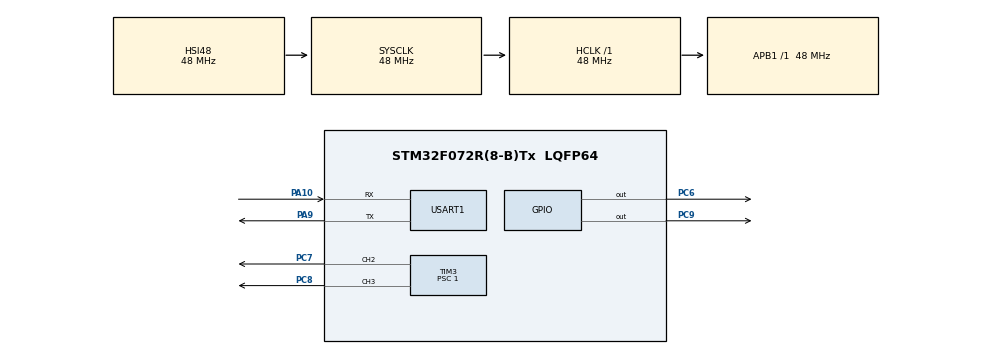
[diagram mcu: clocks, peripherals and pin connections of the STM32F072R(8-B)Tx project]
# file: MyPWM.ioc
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Mcu.Family=STM32F0
Mcu.Name=STM32F072R(8-B)Tx
Mcu.Package=LQFP64
NVIC.USART1_IRQn=true\:0\:0\:false\:false\:true\:true
PA10.Mode=Asynchronous
PA10.Signal=USART1_RX
PA9.Mode=Asynchronous
PA9.Signal=USART1_TX
PC6.Signal=GPIO_Output
PC7.GPIO_PuPd=GPIO_PULLDOWN
PC7.Signal=S_TIM3_CH2
PC8.Signal=S_TIM3_CH3
PC9.Signal=GPIO_Output
PF0-OSC_IN.Mode=HSE-External-Oscillator
PF0-OSC_IN.Signal=RCC_OSC_IN
PF1-OSC_OUT.Mode=HSE-External-Oscillator
PF1-OSC_OUT.Signal=RCC_OSC_OUT
ProjectManager.HeapSize=0x200
ProjectManager.StackSize=0x400
ProjectManager.TargetToolchain=MDK-ARM V5
RCC.AHBFreq_Value=48000000
RCC.APB1Freq_Value=48000000
RCC.APB1TimFreq_Value=48000000
RCC.HCLKFreq_Value=48000000
RCC.SYSCLKFreq_VALUE=48000000
RCC.SYSCLKSource=RCC_SYSCLKSOURCE_HSI48
SH.S_TIM3_CH2.0=TIM3_CH2,PWM Generation2 CH2
SH.S_TIM3_CH3.0=TIM3_CH3,PWM Generation3 CH3
TIM3.Channel-PWM\ Generation2\ CH2=TIM_CHANNEL_2
TIM3.Channel-PWM\ Generation3\ CH3=TIM_CHANNEL_3
TIM3.CounterMode=TIM_COUNTERMODE_UP
TIM3.Period=48000
TIM3.Prescaler=1
TIM3.Pulse-PWM\ Generation2\ CH2=0
USART1.VirtualMode-Asynchronous=VM_ASYNC
VP_TIM3_VS_ClockSourceINT.Mode=Internal
board=custom

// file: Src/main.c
/**
  ******************************************************************************
  * @file           : main.c
  * @brief          : Main program body
  ******************************************************************************
  ** This notice applies to any and all portions of this file
  * that are not between comment pairs USER CODE BEGIN and
  * USER CODE END. Other portions of this file, whether
  * inserted by the user or by software development tools
  * are owned by their respective copyright owners.
  *
  * COPYRIGHT(c) 2018 STMicroelectronics
  *
  * Redistribution and use in source and binary forms, with or without modification,
  * are permitted provided that the following conditions are met:
  *   1. Redistributions of source code must retain the above copyright notice,
  *      this list of conditions and the following disclaimer.
  *   2. Redistributions in binary form must reproduce the above copyright notice,
  *      this list of conditions and the following disclaimer in the documentation
  *      and/or other materials provided with the distribution.
  *   3. Neither the name of STMicroelectronics nor the names of its contributors
  *      may be used to endorse or promote products derived from this software
  *      without specific prior written permission.
  *
  * THIS SOFTWARE IS PROVIDED BY THE COPYRIGHT HOLDERS AND CONTRIBUTORS "AS IS"
  * AND ANY EXPRESS OR IMPLIED WARRANTIES, INCLUDING, BUT NOT LIMITED TO, THE
  * IMPLIED WARRANTIES OF MERCHANTABILITY AND FITNESS FOR A PARTICULAR PURPOSE ARE
  * DISCLAIMED. IN NO EVENT SHALL THE COPYRIGHT HOLDER OR CONTRIBUTORS BE LIABLE
  * FOR ANY DIRECT, INDIRECT, INCIDENTAL, SPECIAL, EXEMPLARY, OR CONSEQUENTIAL
  * DAMAGES (INCLUDING, BUT NOT LIMITED TO, PROCUREMENT OF SUBSTITUTE GOODS OR
  * SERVICES; LOSS OF USE, DATA, OR PROFITS; OR BUSINESS INTERRUPTION) HOWEVER
  * CAUSED AND ON ANY THEORY OF LIABILITY, WHETHER IN CONTRACT, STRICT LIABILITY,
  * OR TORT (INCLUDING NEGLIGENCE OR OTHERWISE) ARISING IN ANY WAY OUT OF THE USE
  * OF THIS SOFTWARE, EVEN IF ADVISED OF THE POSSIBILITY OF SUCH DAMAGE.
  *
  ******************************************************************************
  */
#include "main.h"
#include "stm32f0xx_hal.h"

/* USER CODE BEGIN Includes */
#include <String.h>
/* USER CODE END Includes */

TIM_HandleTypeDef htim3;

UART_HandleTypeDef huart1;

/* USER CODE BEGIN PV */
/* Private variables ---------------------------------------------------------*/

/* USER CODE END PV */

void SystemClock_Config(void);
static void MX_GPIO_Init(void);
static void MX_TIM3_Init(void);
static void MX_USART1_UART_Init(void);
void HAL_TIM_MspPostInit(TIM_HandleTypeDef *htim);

/* USER CODE BEGIN PFP */
/* Private function prototypes -----------------------------------------------*/

/* USER CODE END PFP */

/* USER CODE BEGIN 0 */

	static volatile int flag = 0;
/* USER CODE END 0 */

int main(void)
{
  /* USER CODE BEGIN 1 */

	char str[5];
	int percent,pwm;
	//double pwm;
  /* USER CODE END 1 */

  /* MCU Configuration----------------------------------------------------------*/

  /* Reset of all peripherals, Initializes the Flash interface and the Systick. */
  HAL_Init();

  /* Configure the system clock */
  SystemClock_Config();

  /* Initialize all configured peripherals */
  MX_GPIO_Init();
  MX_TIM3_Init();
  MX_USART1_UART_Init();
  /* USER CODE BEGIN 2 */
	//GPIOC->ODR |= GPIO_PIN_8;

	//GPIOC->ODR |= GPIO_PIN_9;
  /* USER CODE END 2 */

  /* Infinite loop */
  /* USER CODE BEGIN WHILE */
	//GPIOC->ODR = GPIO_PIN_7|GPIO_PIN_6;

	HAL_UART_Receive_IT(&huart1,str,5);
	while(1)
  {
		if(flag==2){
		}
		if(flag == 1){
			flag = 0;
			//if(str[0]=='t'&&str[1]=='r'){
			if(!strncmp(str,"tr",2)){
				HAL_TIM_PWM_Stop ( &htim3, TIM_CHANNEL_3);
				GPIOC->ODR = 0;
				percent = 100*(str[2]-48)+10*(str[3]-48)+str[4]-48;
				pwm = 48000*percent/100;
				htim3.Instance->CCR2 = (int)pwm;
				//TIM3->CCR2=((int)pwm);
				GPIOC->ODR = GPIO_PIN_6;
				HAL_TIM_PWM_Start ( &htim3, TIM_CHANNEL_2);
				uint8_t tmp[] = "Motor is right\r\n";
				HAL_UART_Transmit(&huart1,tmp,sizeof(tmp),0xFFFF);
			}
			else if(!strncmp(str,"tl",2)){
				HAL_TIM_PWM_Stop ( &htim3, TIM_CHANNEL_2);
				GPIOC->ODR = 0;
				percent = 100*(str[2]-48)+10*(str[3]-48)+str[4]-48;
				pwm = 48000*percent/100;
				htim3.Instance->CCR3 = (int)pwm;
				GPIOC->ODR = GPIO_PIN_9;
				HAL_TIM_PWM_Start ( &htim3, TIM_CHANNEL_3);
				uint8_t tmp[] = "Motor is left\r\n";
				HAL_UART_Transmit(&huart1,tmp,sizeof(tmp),0xFFFF);

			}
			else if(!strncmp(str,"stop",4)){
				HAL_TIM_PWM_Stop (&htim3, TIM_CHANNEL_3);
				HAL_TIM_PWM_Stop (&htim3, TIM_CHANNEL_2);
				GPIOC->ODR = 0;
				uint8_t tmp[] = "Motor is stop\r\n";
				HAL_UART_Transmit(&huart1,tmp,sizeof(tmp),0xFFFF);
			}
			else{
				uint8_t tmp[] = "ERROR\r\n";
				HAL_UART_Transmit(&huart1,tmp,sizeof(tmp),0xFFFF);
			}
		}
		HAL_UART_Receive_IT(&huart1,str,5);
	}
  /* USER CODE END WHILE */

}

void SystemClock_Config(void)
{

  RCC_OscInitTypeDef RCC_OscInitStruct;
  RCC_ClkInitTypeDef RCC_ClkInitStruct;
  RCC_PeriphCLKInitTypeDef PeriphClkInit;

    /**Initializes the CPU, AHB and APB busses clocks
    */
  RCC_OscInitStruct.OscillatorType = RCC_OSCILLATORTYPE_HSI48;
  RCC_OscInitStruct.HSI48State = RCC_HSI48_ON;
  RCC_OscInitStruct.PLL.PLLState = RCC_PLL_NONE;
  if (HAL_RCC_OscConfig(&RCC_OscInitStruct) != HAL_OK)
  {
    _Error_Handler(__FILE__, __LINE__);
  }

    /**Initializes the CPU, AHB and APB busses clocks
    */
  RCC_ClkInitStruct.ClockType = RCC_CLOCKTYPE_HCLK|RCC_CLOCKTYPE_SYSCLK
                              |RCC_CLOCKTYPE_PCLK1;
  RCC_ClkInitStruct.SYSCLKSource = RCC_SYSCLKSOURCE_HSI48;
  RCC_ClkInitStruct.AHBCLKDivider = RCC_SYSCLK_DIV1;
  RCC_ClkInitStruct.APB1CLKDivider = RCC_HCLK_DIV1;

  if (HAL_RCC_ClockConfig(&RCC_ClkInitStruct, FLASH_LATENCY_1) != HAL_OK)
  {
    _Error_Handler(__FILE__, __LINE__);
  }

  PeriphClkInit.PeriphClockSelection = RCC_PERIPHCLK_USART1;
  PeriphClkInit.Usart1ClockSelection = RCC_USART1CLKSOURCE_PCLK1;
  if (HAL_RCCEx_PeriphCLKConfig(&PeriphClkInit) != HAL_OK)
  {
    _Error_Handler(__FILE__, __LINE__);
  }

    /**Configure the Systick interrupt time
    */
  HAL_SYSTICK_Config(HAL_RCC_GetHCLKFreq()/1000);

    /**Configure the Systick
    */
  HAL_SYSTICK_CLKSourceConfig(SYSTICK_CLKSOURCE_HCLK);

  /* SysTick_IRQn interrupt configuration */
  HAL_NVIC_SetPriority(SysTick_IRQn, 0, 0);
}

/* TIM3 init function */
static void MX_TIM3_Init(void)
{

  TIM_ClockConfigTypeDef sClockSourceConfig;
  TIM_MasterConfigTypeDef sMasterConfig;
  TIM_OC_InitTypeDef sConfigOC;

  htim3.Instance = TIM3;
  htim3.Init.Prescaler = 1;
  htim3.Init.CounterMode = TIM_COUNTERMODE_UP;
  htim3.Init.Period = 48000;
  htim3.Init.ClockDivision = TIM_CLOCKDIVISION_DIV1;
  htim3.Init.AutoReloadPreload = TIM_AUTORELOAD_PRELOAD_DISABLE;
  if (HAL_TIM_Base_Init(&htim3) != HAL_OK)
  {
    _Error_Handler(__FILE__, __LINE__);
  }

  sClockSourceConfig.ClockSource = TIM_CLOCKSOURCE_INTERNAL;
  if (HAL_TIM_ConfigClockSource(&htim3, &sClockSourceConfig) != HAL_OK)
  {
    _Error_Handler(__FILE__, __LINE__);
  }

  if (HAL_TIM_PWM_Init(&htim3) != HAL_OK)
  {
    _Error_Handler(__FILE__, __LINE__);
  }

  sMasterConfig.MasterOutputTrigger = TIM_TRGO_RESET;
  sMasterConfig.MasterSlaveMode = TIM_MASTERSLAVEMODE_DISABLE;
  if (HAL_TIMEx_MasterConfigSynchronization(&htim3, &sMasterConfig) != HAL_OK)
  {
    _Error_Handler(__FILE__, __LINE__);
  }

  sConfigOC.OCMode = TIM_OCMODE_PWM1;
  sConfigOC.Pulse = 0;
  sConfigOC.OCPolarity = TIM_OCPOLARITY_HIGH;
  sConfigOC.OCFastMode = TIM_OCFAST_DISABLE;
  if (HAL_TIM_PWM_ConfigChannel(&htim3, &sConfigOC, TIM_CHANNEL_2) != HAL_OK)
  {
    _Error_Handler(__FILE__, __LINE__);
  }

  if (HAL_TIM_PWM_ConfigChannel(&htim3, &sConfigOC, TIM_CHANNEL_3) != HAL_OK)
  {
    _Error_Handler(__FILE__, __LINE__);
  }

  HAL_TIM_MspPostInit(&htim3);

}

/* USART1 init function */
static void MX_USART1_UART_Init(void)
{

  huart1.Instance = USART1;
  huart1.Init.BaudRate = 38400;
  huart1.Init.WordLength = UART_WORDLENGTH_8B;
  huart1.Init.StopBits = UART_STOPBITS_1;
  huart1.Init.Parity = UART_PARITY_NONE;
  huart1.Init.Mode = UART_MODE_TX_RX;
  huart1.Init.HwFlowCtl = UART_HWCONTROL_NONE;
  huart1.Init.OverSampling = UART_OVERSAMPLING_16;
  huart1.Init.OneBitSampling = UART_ONE_BIT_SAMPLE_DISABLE;
  huart1.AdvancedInit.AdvFeatureInit = UART_ADVFEATURE_NO_INIT;
  if (HAL_UART_Init(&huart1) != HAL_OK)
  {
    _Error_Handler(__FILE__, __LINE__);
  }

}

/** Configure pins as
        * Analog
        * Input
        * Output
        * EVENT_OUT
        * EXTI
*/
static void MX_GPIO_Init(void)
{

  GPIO_InitTypeDef GPIO_InitStruct;

  /* GPIO Ports Clock Enable */
  __HAL_RCC_GPIOF_CLK_ENABLE();
  __HAL_RCC_GPIOC_CLK_ENABLE();
  __HAL_RCC_GPIOA_CLK_ENABLE();

  /*Configure GPIO pin Output Level */
  HAL_GPIO_WritePin(GPIOC, GPIO_PIN_6|GPIO_PIN_9, GPIO_PIN_RESET);

  /*Configure GPIO pins : PC6 PC9 */
  GPIO_InitStruct.Pin = GPIO_PIN_6|GPIO_PIN_9;
  GPIO_InitStruct.Mode = GPIO_MODE_OUTPUT_PP;
  GPIO_InitStruct.Pull = GPIO_NOPULL;
  GPIO_InitStruct.Speed = GPIO_SPEED_FREQ_LOW;
  HAL_GPIO_Init(GPIOC, &GPIO_InitStruct);

}

/* USER CODE BEGIN 4 */
void HAL_UART_RxCpltCallback(UART_HandleTypeDef *huart)
{
	flag =1;
}/*
void HAL_UART_RxHalfCpltCallback(UART_HandleTypeDef *huart)
{

			HAL_UART_Transmit(&huart1,huart->pRxBuffPtr,sizeof(huart->pRxBuffPtr),0xFFFF);
			HAL_UART_Transmit(&huart1,huart->pTxBuffPtr,sizeof(huart->pTxBuffPtr),0xFFFF);

}*/
/* USER CODE END 4 */

void _Error_Handler(char *file, int line)
{
  while(1)
  {
  }
}

/************************ (C) COPYRIGHT STMicroelectronics *****END OF FILE****/
